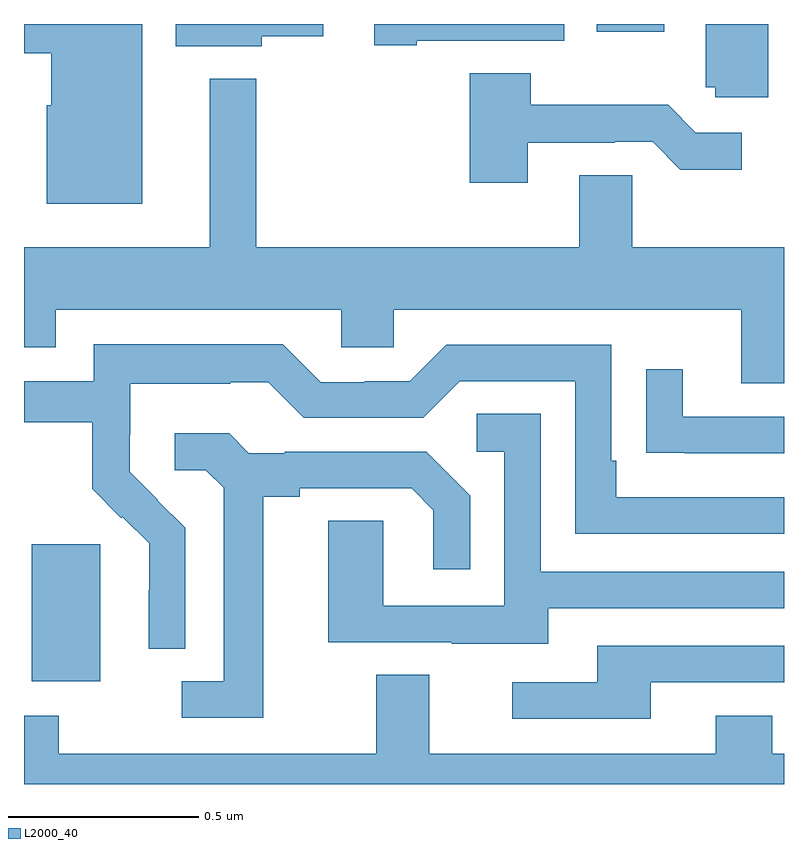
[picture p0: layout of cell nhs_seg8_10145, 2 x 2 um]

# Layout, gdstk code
import gdstk
lib = gdstk.Library(unit=1e-6, precision=1e-09)
def R(c, l, rs):  # rectangles x0, y0, x1, y1
    for r in rs: c.add(gdstk.rectangle(r[:2], r[2:], *l))
def P(c, l, *ps):  # polygons
    for p in ps: c.add(gdstk.Polygon(p, *l))
L2000_40 = (2000, 40)

nhs_seg8_10145 = lib.new_cell('nhs_seg8_10145')
R(nhs_seg8_10145, L2000_40, [(245.021,1134.17,245.2,1134.531), (246.507,1135.88,246.685,1135.9)])
P(nhs_seg8_10145, L2000_40, [(246.958,1135.9),(246.794,1135.9),(246.794,1135.734),(246.819,1135.734),(246.819,1135.707),(246.958,1135.707)],
  [(245.311,1135.9),(245,1135.9),(245,1135.823),(245.072,1135.823),(245.072,1135.686),(245.06,1135.686),(245.06,1135.427),(245.311,1135.427)],
  [(246.034,1135.856),(246.422,1135.856),(246.422,1135.9),(245.922,1135.9),(245.922,1135.844),(246.034,1135.844)],
  [(245.626,1135.868),(245.788,1135.868),(245.788,1135.9),(245.399,1135.9),(245.399,1135.841),(245.626,1135.841)],
  [(246.325,1135.587),(246.554,1135.587),(246.554,1135.59),(246.654,1135.59),(246.727,1135.517),(246.889,1135.517),(246.889,1135.614),(246.768,1135.614),(246.695,1135.687),(246.333,1135.687),(246.333,1135.771),(246.173,1135.771),(246.173,1135.482),(246.325,1135.482)],
  [(247,1135.312),(246.6,1135.312),(246.6,1135.502),(246.461,1135.502),(246.461,1135.312),(245.611,1135.312),(245.611,1135.756),(245.489,1135.756),(245.489,1135.312),(245,1135.312),(245,1135.049),(245.083,1135.049),(245.083,1135.148),(245.835,1135.148),(245.835,1135.05),(245.973,1135.05),(245.973,1135.148),(246.887,1135.148),(246.887,1134.954),(247,1134.954)],
  [(245.424,1134.574),(245.351,1134.647),(245.352,1134.648),(245.278,1134.722),(245.278,1134.819),(245.28,1134.819),(245.28,1134.953),(245.543,1134.953),(245.543,1134.957),(245.643,1134.957),(245.736,1134.864),(246.051,1134.864),(246.147,1134.96),(246.45,1134.96),(246.45,1134.558),(247,1134.558),(247,1134.654),(246.559,1134.654),(246.559,1134.751),(246.546,1134.751),(246.546,1135.056),(246.111,1135.056),(246.015,1134.96),(245.897,1134.96),(245.897,1134.957),(245.781,1134.957),(245.681,1135.057),(245.184,1135.057),(245.184,1134.96),(245,1134.96),(245,1134.852),(245.179,1134.852),(245.179,1134.677),(245.256,1134.6),(245.259,1134.603),(245.33,1134.533),(245.33,1134.41),(245.328,1134.41),(245.328,1134.256),(245.424,1134.256)],
  [(247,1134.867),(246.733,1134.867),(246.733,1134.991),(246.637,1134.991),(246.637,1134.772),(246.739,1134.772),(246.739,1134.771),(247,1134.771)],
  [(246.379,1134.363),(247,1134.363),(247,1134.459),(246.36,1134.459),(246.36,1134.875),(246.192,1134.875),(246.192,1134.774),(246.264,1134.774),(246.264,1134.369),(245.946,1134.369),(245.946,1134.593),(245.801,1134.593),(245.801,1134.273),(246.125,1134.273),(246.125,1134.269),(246.379,1134.269)],
  [(245.629,1134.656),(245.725,1134.656),(245.725,1134.678),(246.02,1134.678),(246.077,1134.621),(246.077,1134.465),(246.174,1134.465),(246.174,1134.658),(246.058,1134.774),(245.686,1134.774),(245.686,1134.771),(245.592,1134.771),(245.54,1134.823),(245.397,1134.823),(245.397,1134.726),(245.478,1134.726),(245.525,1134.679),(245.525,1134.171),(245.415,1134.171),(245.415,1134.075),(245.629,1134.075)],
  [(246.649,1134.168),(247,1134.168),(247,1134.264),(246.509,1134.264),(246.509,1134.168),(246.285,1134.168),(246.285,1134.072),(246.649,1134.072)],
  [(247,1133.98),(246.969,1133.98),(246.969,1134.079),(246.821,1134.079),(246.821,1133.98),(246.067,1133.98),(246.067,1134.188),(245.927,1134.188),(245.927,1133.98),(245.091,1133.98),(245.091,1134.079),(245,1134.079),(245,1133.9),(247,1133.9)])

lib.write_gds('nhs_seg8_10145.gds')
